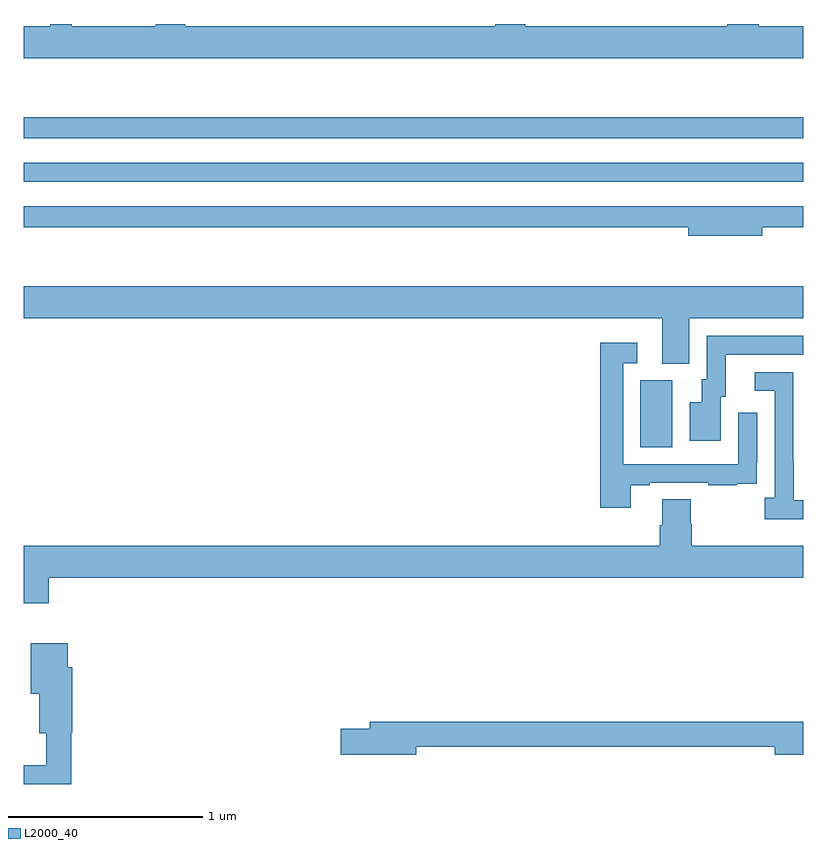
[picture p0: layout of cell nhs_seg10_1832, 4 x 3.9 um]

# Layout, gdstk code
import gdstk
lib = gdstk.Library(unit=1e-6, precision=1e-09)
def R(c, l, rs):  # rectangles x0, y0, x1, y1
    for r in rs: c.add(gdstk.rectangle(r[:2], r[2:], *l))
def P(c, l, *ps):  # polygons
    for p in ps: c.add(gdstk.Polygon(p, *l))
L2000_40 = (2000, 40)

nhs_seg10_1832 = lib.new_cell('nhs_seg10_1832')
R(nhs_seg10_1832, L2000_40, [(210.164,1290.328,210.328,1290.672), (207,1291.692,211,1291.788), (207,1291.914,211,1292.023)])
P(nhs_seg10_1832, L2000_40, [(211,1292.488),(210.77,1292.488),(210.77,1292.5),(210.61,1292.5),(210.61,1292.488),(209.572,1292.488),(209.572,1292.5),(209.42,1292.5),(209.42,1292.488),(207.83,1292.488),(207.83,1292.5),(207.677,1292.5),(207.677,1292.488),(207.247,1292.488),(207.247,1292.5),(207.137,1292.5),(207.137,1292.488),(207,1292.488),(207,1292.324),(211,1292.324)],
  [(210.79,1291.458),(211,1291.458),(211,1291.566),(207,1291.566),(207,1291.458),(210.41,1291.458),(210.41,1291.415),(210.79,1291.415)],
  [(210.415,1290.992),(211,1290.992),(211,1291.156),(207,1291.156),(207,1290.992),(210.275,1290.992),(210.275,1290.757),(210.415,1290.757)],
  [(210.577,1290.588),(210.601,1290.588),(210.601,1290.804),(211,1290.804),(211,1290.9),(210.504,1290.9),(210.504,1290.678),(210.479,1290.678),(210.479,1290.559),(210.416,1290.559),(210.416,1290.363),(210.577,1290.363)],
  [(210.115,1290.135),(210.211,1290.135),(210.211,1290.147),(210.511,1290.147),(210.511,1290.135),(210.659,1290.135),(210.659,1290.141),(210.761,1290.141),(210.761,1290.25),(210.762,1290.25),(210.762,1290.505),(210.666,1290.505),(210.666,1290.243),(210.075,1290.243),(210.075,1290.759),(210.148,1290.759),(210.148,1290.865),(209.959,1290.865),(209.959,1290.018),(210.115,1290.018)],
  [(211,1290.057),(210.949,1290.057),(210.949,1290.257),(210.948,1290.257),(210.948,1290.714),(210.75,1290.714),(210.75,1290.618),(210.852,1290.618),(210.852,1290.07),(210.801,1290.07),(210.801,1289.96),(211,1289.96)],
  [(207.128,1289.66),(211,1289.66),(211,1289.824),(210.428,1289.824),(210.428,1289.937),(210.423,1289.937),(210.423,1290.062),(210.275,1290.062),(210.275,1289.93),(210.263,1289.93),(210.263,1289.824),(207,1289.824),(207,1289.529),(207.128,1289.529)],
  [(207.245,1288.866),(207.251,1288.866),(207.251,1289.202),(207.226,1289.202),(207.226,1289.323),(207.038,1289.323),(207.038,1289.066),(207.08,1289.066),(207.08,1288.862),(207.117,1288.862),(207.117,1288.699),(207,1288.699),(207,1288.602),(207.245,1288.602)],
  [(209.014,1288.794),(210.854,1288.794),(210.854,1288.751),(211,1288.751),(211,1288.922),(208.775,1288.922),(208.775,1288.886),(208.626,1288.886),(208.626,1288.751),(209.014,1288.751)])

lib.write_gds('nhs_seg10_1832.gds')
